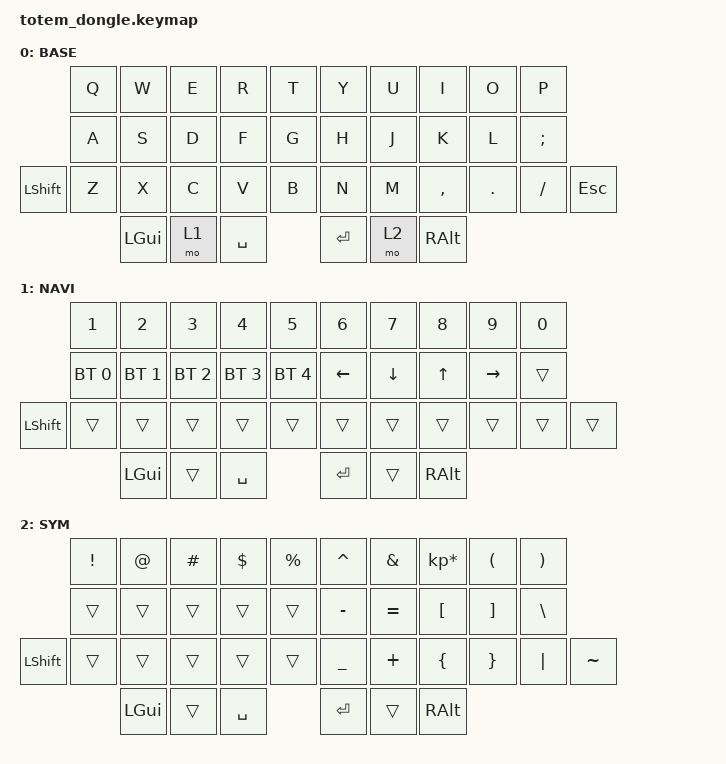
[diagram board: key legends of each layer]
/*
 * Copyright (c) 2020 The ZMK Contributors
 *
 * SPDX-License-Identifier: MIT
 */

#include <behaviors.dtsi>
#include <dt-bindings/zmk/keys.h>
#include <dt-bindings/zmk/bt.h>

/ {
        keymap {
                compatible = "zmk,keymap";

                default_layer {
// -----------------------------------------------------------------------------------------
//        |  Q  |  W  |  E  |  R  |  T  |   |  Y  |  U   |  I  |  O  |  P  |
//        |  A  |  S  |  D  |  F  |  G  |   |  H  |  J   |  K  |  L  |  ;  |
// | SHFT |  Z  |  X  |  C  |  V  |  B  |   |  N  |  M   |  ,  |  .  |  /  | ESC  |
//                    | GUI | LWR | SPC |   | ENT | RSE  | ALT |
                        bindings = <
             &kp Q &kp W &kp E &kp R &kp T   &kp Y &kp U  &kp I     &kp O   &kp P    
             &kp A &kp S &kp D &kp F &kp G   &kp H &kp J  &kp K     &kp L   &kp SEMI 
   &kp LSHFT &kp Z &kp X &kp C &kp V &kp B   &kp N &kp M  &kp COMMA &kp DOT &kp FSLH &kp ESC
                  &kp LGUI &mo 1 &kp SPACE   &kp RET &mo 2 &kp RALT
                        >;
                display-name = "BASE";
                };
                lower_layer {
// -----------------------------------------------------------------------------------------
//        |  1  |  2  |  3  |  4  |  5  |   |  6  |  7  |  8  |  9  |  0  |
//        | BT1 | BT2 | BT3 | BT4 | BT5 |   | LFT | DWN |  UP | RGT |     |
// | SHFT |     |     |     |     |     |   |     |     |     |     |     |      |
//                    | GUI |     | SPC |   | ENT |     | ALT |
                        bindings = <
              &kp N1       &kp N2       &kp N3       &kp N4       &kp N5         &kp N6   &kp N7   &kp N8 &kp N9    &kp N0 
              &bt BT_SEL 0 &bt BT_SEL 1 &bt BT_SEL 2 &bt BT_SEL 3 &bt BT_SEL 4   &kp LEFT &kp DOWN &kp UP &kp RIGHT &trans 
   &kp LSHFT  &trans       &trans       &trans       &trans       &trans         &trans   &trans   &trans &trans    &trans &trans
                                    &kp LGUI     &trans       &kp SPACE      &kp RET  &trans   &kp RALT
                        >;
                display-name = "NAVI";
                };

                raise_layer {
// -----------------------------------------------------------------------------------------
//        |  !  |  @  |  #  |  $  |  %  |   |  ^  |  &  |  *  |  (  |  )  |
//        |     |     |     |     |     |   |  -  |  =  |  [  |  ]  |  \  |
// | SHFT |     |     |     |     |     |   |  _  |  +  |  {  |  }  | "|" |  ~   |
//                    | GUI |     | SPC |   | ENT |     | ALT |
                        bindings = <
             &kp EXCL &kp AT &kp HASH &kp DLLR &kp PRCNT   &kp CARET &kp AMPS  &kp KP_MULTIPLY &kp LPAR &kp RPAR 
             &trans   &trans &trans   &trans   &trans      &kp MINUS &kp EQUAL &kp LBKT        &kp RBKT &kp BSLH 
   &kp LSHFT &trans   &trans &trans   &trans   &trans      &kp UNDER &kp PLUS  &kp LBRC        &kp RBRC &kp PIPE &kp TILDE
                             &kp LGUI &trans   &kp SPACE   &kp RET   &trans    &kp RALT
                        >;
                display-name = "SYM";
                };
        extra1 { status = "reserved"; };

        extra2 { status = "reserved"; };

        extra3 { status = "reserved"; };

        extra4 { status = "reserved"; };

        extra5 { status = "reserved"; };
        };
};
